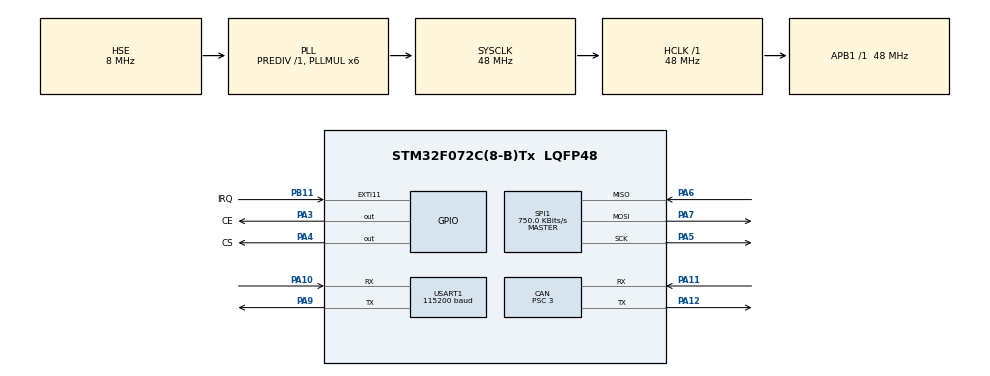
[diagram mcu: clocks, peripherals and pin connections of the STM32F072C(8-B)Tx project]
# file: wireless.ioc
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CAN.BS1=CAN_BS1_9TQ
CAN.BS2=CAN_BS2_6TQ
CAN.CalculateTimeQuantum=62.5
CAN.Prescaler=3
Mcu.Family=STM32F0
Mcu.Name=STM32F072C(8-B)Tx
Mcu.Package=LQFP48
NVIC.CEC_CAN_IRQn=true\:0\:0\:false\:false\:true\:true
NVIC.EXTI4_15_IRQn=true\:0\:0\:false\:false\:true\:true
NVIC.USART1_IRQn=true\:0\:0\:false\:false\:true\:true
PA10.Mode=Asynchronous
PA10.Signal=USART1_RX
PA11.Mode=Master
PA11.Signal=CAN_RX
PA12.Mode=Master
PA12.Signal=CAN_TX
PA3.GPIO_Label=CE
PA3.Signal=GPIO_Output
PA4.GPIO_Label=CS
PA4.Signal=GPIO_Output
PA5.Mode=Full_Duplex_Master
PA5.Signal=SPI1_SCK
PA6.Mode=Full_Duplex_Master
PA6.Signal=SPI1_MISO
PA7.Mode=Full_Duplex_Master
PA7.Signal=SPI1_MOSI
PA9.Mode=Asynchronous
PA9.Signal=USART1_TX
PB11.GPIO_Label=IRQ
PB11.Signal=GPXTI11
PF0-OSC_IN.Mode=HSE-External-Oscillator
PF0-OSC_IN.Signal=RCC_OSC_IN
PF1-OSC_OUT.Mode=HSE-External-Oscillator
PF1-OSC_OUT.Signal=RCC_OSC_OUT
ProjectManager.HeapSize=0x200
ProjectManager.StackSize=0x400
ProjectManager.TargetToolchain=EWARM
RCC.AHBFreq_Value=48000000
RCC.APB1Freq_Value=48000000
RCC.APB1TimFreq_Value=48000000
RCC.HCLKFreq_Value=48000000
RCC.PLLMUL=RCC_PLL_MUL6
RCC.PLLSourceVirtual=RCC_PLLSOURCE_HSE
RCC.SYSCLKFreq_VALUE=48000000
RCC.SYSCLKSource=RCC_SYSCLKSOURCE_PLLCLK
SPI1.BaudRatePrescaler=SPI_BAUDRATEPRESCALER_64
SPI1.CalculateBaudRate=750.0 KBits/s
SPI1.DataSize=SPI_DATASIZE_8BIT
SPI1.Direction=SPI_DIRECTION_2LINES
SPI1.Mode=SPI_MODE_MASTER
SPI1.VirtualType=VM_MASTER
USART1.BaudRate=115200
USART1.VirtualMode-Asynchronous=VM_ASYNC
board=custom

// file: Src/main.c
/**
  ******************************************************************************
  * @file           : main.c
  * @brief          : Main program body
  ******************************************************************************
  ** This notice applies to any and all portions of this file
  * that are not between comment pairs USER CODE BEGIN and
  * USER CODE END. Other portions of this file, whether
  * inserted by the user or by software development tools
  * are owned by their respective copyright owners.
  *
  * COPYRIGHT(c) 2018 STMicroelectronics
  *
  * Redistribution and use in source and binary forms, with or without modification,
  * are permitted provided that the following conditions are met:
  *   1. Redistributions of source code must retain the above copyright notice,
  *      this list of conditions and the following disclaimer.
  *   2. Redistributions in binary form must reproduce the above copyright notice,
  *      this list of conditions and the following disclaimer in the documentation
  *      and/or other materials provided with the distribution.
  *   3. Neither the name of STMicroelectronics nor the names of its contributors
  *      may be used to endorse or promote products derived from this software
  *      without specific prior written permission.
  *
  * THIS SOFTWARE IS PROVIDED BY THE COPYRIGHT HOLDERS AND CONTRIBUTORS "AS IS"
  * AND ANY EXPRESS OR IMPLIED WARRANTIES, INCLUDING, BUT NOT LIMITED TO, THE
  * IMPLIED WARRANTIES OF MERCHANTABILITY AND FITNESS FOR A PARTICULAR PURPOSE ARE
  * DISCLAIMED. IN NO EVENT SHALL THE COPYRIGHT HOLDER OR CONTRIBUTORS BE LIABLE
  * FOR ANY DIRECT, INDIRECT, INCIDENTAL, SPECIAL, EXEMPLARY, OR CONSEQUENTIAL
  * DAMAGES (INCLUDING, BUT NOT LIMITED TO, PROCUREMENT OF SUBSTITUTE GOODS OR
  * SERVICES; LOSS OF USE, DATA, OR PROFITS; OR BUSINESS INTERRUPTION) HOWEVER
  * CAUSED AND ON ANY THEORY OF LIABILITY, WHETHER IN CONTRACT, STRICT LIABILITY,
  * OR TORT (INCLUDING NEGLIGENCE OR OTHERWISE) ARISING IN ANY WAY OUT OF THE USE
  * OF THIS SOFTWARE, EVEN IF ADVISED OF THE POSSIBILITY OF SUCH DAMAGE.
  *
  ******************************************************************************
  */
#include "main.h"
#include "stm32f0xx_hal.h"
#include "can.h"
#include "spi.h"
#include "usart.h"
#include "gpio.h"

/* USER CODE BEGIN PV */
/* Private variables ---------------------------------------------------------*/

/* USER CODE END PV */

void SystemClock_Config(void);

/* USER CODE BEGIN PFP */
/* Private function prototypes -----------------------------------------------*/

/* USER CODE END PFP */

/* USER CODE BEGIN 0 */
void TEST_FUNC(CanRxMsgTypeDef* pRxMsg);
void TEST_FUNC2(CanRxMsgTypeDef* pRxMsg);
/* USER CODE END 0 */

int main(void)
{

  /* MCU Configuration----------------------------------------------------------*/

  /* Reset of all peripherals, Initializes the Flash interface and the Systick. */
  HAL_Init();

  /* Configure the system clock */
  SystemClock_Config();

  /* Initialize all configured peripherals */
  MX_GPIO_Init();
  MX_USART1_UART_Init();
  MX_CAN_Init();
  MX_SPI1_Init();
  /* USER CODE BEGIN 2 */
  can_init();
  can_add_callback(325, TEST_FUNC);
  can_add_callback(324, TEST_FUNC2);
  //delay_init(48);

  NRF_Init(&NRF24l01);
  uprintf("begin...\r\n");
  can_send_msg(325, "hello",5);
  //nRF24L01_test();
  /* USER CODE END 2 */

  /* Infinite loop */
  while (1)
  {
    nrf_receive(&NRF24l01);
  }

}

void SystemClock_Config(void)
{

  RCC_OscInitTypeDef RCC_OscInitStruct;
  RCC_ClkInitTypeDef RCC_ClkInitStruct;
  RCC_PeriphCLKInitTypeDef PeriphClkInit;

    /**Initializes the CPU, AHB and APB busses clocks
    */
  RCC_OscInitStruct.OscillatorType = RCC_OSCILLATORTYPE_HSE;
  RCC_OscInitStruct.HSEState = RCC_HSE_ON;
  RCC_OscInitStruct.PLL.PLLState = RCC_PLL_ON;
  RCC_OscInitStruct.PLL.PLLSource = RCC_PLLSOURCE_HSE;
  RCC_OscInitStruct.PLL.PLLMUL = RCC_PLL_MUL6;
  RCC_OscInitStruct.PLL.PREDIV = RCC_PREDIV_DIV1;
  if (HAL_RCC_OscConfig(&RCC_OscInitStruct) != HAL_OK)
  {
    _Error_Handler(__FILE__, __LINE__);
  }

    /**Initializes the CPU, AHB and APB busses clocks
    */
  RCC_ClkInitStruct.ClockType = RCC_CLOCKTYPE_HCLK|RCC_CLOCKTYPE_SYSCLK
                              |RCC_CLOCKTYPE_PCLK1;
  RCC_ClkInitStruct.SYSCLKSource = RCC_SYSCLKSOURCE_PLLCLK;
  RCC_ClkInitStruct.AHBCLKDivider = RCC_SYSCLK_DIV1;
  RCC_ClkInitStruct.APB1CLKDivider = RCC_HCLK_DIV1;

  if (HAL_RCC_ClockConfig(&RCC_ClkInitStruct, FLASH_LATENCY_1) != HAL_OK)
  {
    _Error_Handler(__FILE__, __LINE__);
  }

  PeriphClkInit.PeriphClockSelection = RCC_PERIPHCLK_USART1;
  PeriphClkInit.Usart1ClockSelection = RCC_USART1CLKSOURCE_PCLK1;
  if (HAL_RCCEx_PeriphCLKConfig(&PeriphClkInit) != HAL_OK)
  {
    _Error_Handler(__FILE__, __LINE__);
  }

    /**Configure the Systick interrupt time
    */
  HAL_SYSTICK_Config(HAL_RCC_GetHCLKFreq()/1000);

    /**Configure the Systick
    */
  HAL_SYSTICK_CLKSourceConfig(SYSTICK_CLKSOURCE_HCLK);

  /* SysTick_IRQn interrupt configuration */
  HAL_NVIC_SetPriority(SysTick_IRQn, 0, 0);
}

/* USER CODE BEGIN 4 */
void TEST_FUNC(CanRxMsgTypeDef* pRxMsg)
{
    uint8_t Data[8];
    int i;
    for(i = 0; i < 8; i++)
    {
        Data[i] = pRxMsg->Data[i];
    }
    uprintf("canrcv = %s\r\n",Data);
}

void HAL_SYSTICK_Callback(void){
  static int time_1ms_cnt;
  time_1ms_cnt++;
}

void TEST_FUNC2(CanRxMsgTypeDef* pRxMsg)
{
    uint8_t Data[6];
    int i;
    for(i = 0; i < 6; i++)
    {
        Data[i] = pRxMsg->Data[i];
    }
    uprintf("canrcv = %d %d %d\r\n",Data[0]*128 + Data[1], Data[2]*128 + Data[3], Data[4]*128 + Data[5]);
}
/* USER CODE END 4 */

void _Error_Handler(char *file, int line)
{
  while(1)
  {
  }
}

/************************ (C) COPYRIGHT STMicroelectronics *****END OF FILE****/
